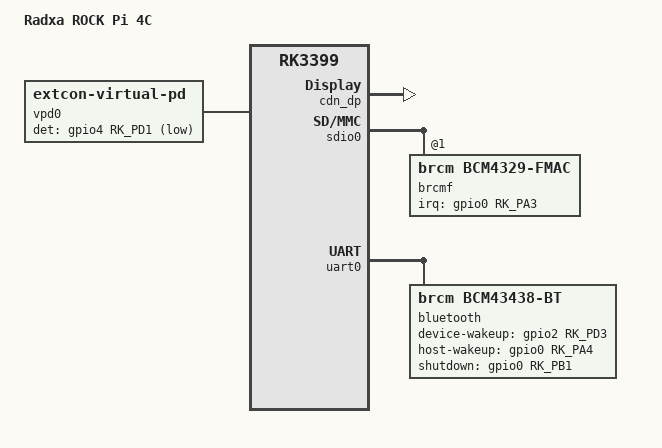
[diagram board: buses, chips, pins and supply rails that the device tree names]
// SPDX-License-Identifier: (GPL-2.0+ OR MIT)
/*
 * Copyright (c) 2019 Fuzhou Rockchip Electronics Co., Ltd
 * Copyright (c) 2019 Radxa Limited
 * Copyright (c) 2019 Amarula Solutions(India)
 */

/dts-v1/;
#include "rk3399-rock-pi-4.dtsi"

/ {
	model = "Radxa ROCK Pi 4C";
	compatible = "radxa,rockpi4c", "radxa,rockpi4", "rockchip,rk3399";

	vpd0: vpd0 {
		compatible = "linux,extcon-virtual-pd";
		det-gpios = <&gpio4 RK_PD1 GPIO_ACTIVE_LOW>;
		/* 0: positive, 1: negative*/
		vpd,init-flip = <0>;
		/* 0: u2, 1: u3*/
		vpd,init-ss = <1>;
		/* 0: dfp, 1: ufp, 2: dp 3: dp/ufp */
		vpd,init-mode = <2>;
	};
};

&cdn_dp {
	extcon = <&vpd0>;
	status = "okay";
};

&tcphy0 {
	extcon = <&vpd0>;
};

&pinctrl {
	dp {
		dp_pwr: dp-pwr {
			rockchip,pins = <1 RK_PD0 RK_FUNC_GPIO &pcfg_pull_none>;
		};
	};
};

&sdio0 {
	status = "okay";

	brcmf: wifi@1 {
		compatible = "brcm,bcm4329-fmac";
		reg = <1>;
		interrupt-parent = <&gpio0>;
		interrupts = <RK_PA3 GPIO_ACTIVE_HIGH>;
		interrupt-names = "host-wake";
		pinctrl-names = "default";
		pinctrl-0 = <&wifi_host_wake_l>;
	};
};

&uart0 {
	status = "okay";

	bluetooth {
		compatible = "brcm,bcm43438-bt";
		clocks = <&rk808 1>;
		clock-names = "ext_clock";
		device-wakeup-gpios = <&gpio2 RK_PD3 GPIO_ACTIVE_HIGH>;
		host-wakeup-gpios = <&gpio0 RK_PA4 GPIO_ACTIVE_HIGH>;
		shutdown-gpios = <&gpio0 RK_PB1 GPIO_ACTIVE_HIGH>;
		pinctrl-names = "default";
		pinctrl-0 = <&bt_host_wake_l &bt_wake_l &bt_enable_h>;
	};
};

&vcc5v0_host {
	gpio = <&gpio3 RK_PD6 GPIO_ACTIVE_HIGH>;
};

&vcc5v0_host_en {
	rockchip,pins = <3 RK_PD6 RK_FUNC_GPIO &pcfg_pull_none>;
};
